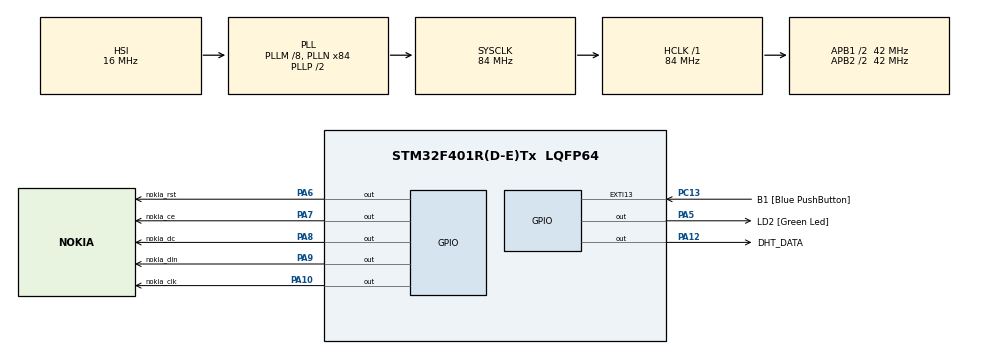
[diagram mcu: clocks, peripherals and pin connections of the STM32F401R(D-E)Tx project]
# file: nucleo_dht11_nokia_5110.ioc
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Mcu.Family=STM32F4
Mcu.Name=STM32F401R(D-E)Tx
Mcu.Package=LQFP64
NVIC.PriorityGroup=NVIC_PRIORITYGROUP_0
NVIC.TIM1_UP_TIM10_IRQn=true\:0\:0\:false\:false\:true\:true\:true\:true
PA10.GPIO_Label=nokia_clk
PA10.Signal=GPIO_Output
PA12.GPIO_Label=DHT_DATA
PA12.Signal=GPIO_Output
PA5.GPIO_Label=LD2 [Green Led]
PA5.GPIO_Mode=GPIO_MODE_OUTPUT_PP
PA5.GPIO_PuPd=GPIO_NOPULL
PA5.GPIO_Speed=GPIO_SPEED_FREQ_LOW
PA5.Signal=GPIO_Output
PA6.GPIO_Label=nokia_rst
PA6.Signal=GPIO_Output
PA7.GPIO_Label=nokia_ce
PA7.Signal=GPIO_Output
PA8.GPIO_Label=nokia_dc
PA8.Signal=GPIO_Output
PA9.GPIO_Label=nokia_din
PA9.Signal=GPIO_Output
PC13-ANTI_TAMP.GPIO_Label=B1 [Blue PushButton]
PC13-ANTI_TAMP.GPIO_ModeDefaultEXTI=GPIO_MODE_IT_FALLING
PC13-ANTI_TAMP.GPIO_PuPd=GPIO_NOPULL
PC13-ANTI_TAMP.Signal=GPXTI13
ProjectManager.HeapSize=0x200
ProjectManager.StackSize=0x400
ProjectManager.TargetToolchain=STM32CubeIDE
RCC.48MHZClocksFreq_Value=24000000
RCC.AHBFreq_Value=84000000
RCC.APB1CLKDivider=RCC_HCLK_DIV2
RCC.APB1Freq_Value=42000000
RCC.APB1TimFreq_Value=84000000
RCC.APB2CLKDivider=RCC_HCLK_DIV2
RCC.APB2Freq_Value=42000000
RCC.APB2TimFreq_Value=84000000
RCC.CortexFreq_Value=84000000
RCC.HCLKFreq_Value=84000000
RCC.HSE_VALUE=8000000
RCC.HSI_VALUE=16000000
RCC.LSE_VALUE=32768
RCC.PLLM=8
RCC.PLLN=84
RCC.PLLQ=7
RCC.SYSCLKFreq_VALUE=84000000
RCC.SYSCLKSource=RCC_SYSCLKSOURCE_PLLCLK
RCC.VCOOutputFreq_Value=168000000
TIM10.Period=65534
TIM10.Prescaler=83
VP_TIM10_VS_ClockSourceINT.Mode=Enable_Timer
board=NUCLEO-F401RE

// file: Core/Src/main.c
/* USER CODE BEGIN Header */
/**
  ******************************************************************************
  * @file           : main.c
  * @brief          : Main program body
  ******************************************************************************
  * @attention
  *
  * Copyright (c) 2023 STMicroelectronics.
  * All rights reserved.
  *
  * This software is licensed under terms that can be found in the LICENSE file
  * in the root directory of this software component.
  * If no LICENSE file comes with this software, it is provided AS-IS.
  *
  ******************************************************************************
  */
/* USER CODE END Header */
#include "main.h"
#include "tim.h"
#include "gpio.h"
#include "stdio.h"

/* USER CODE BEGIN Includes */
#include "dht.h"
#include "nokia5110_LCD.h"

/* USER CODE END Includes */

void SystemClock_Config(void);

/* USER CODE BEGIN 0 */

char buffer[10];

/* USER CODE END 0 */

int main(void)
{

  /* MCU Configuration--------------------------------------------------------*/

  /* Reset of all peripherals, Initializes the Flash interface and the Systick. */
  HAL_Init();

  /* Configure the system clock */
  SystemClock_Config();

  /* Initialize all configured peripherals */
  MX_GPIO_Init();
  MX_TIM10_Init();
  /* USER CODE BEGIN 2 */
  HAL_TIM_Base_Start_IT(&htim10);

  LCD_setRST(nokia_rst_GPIO_Port, nokia_rst_Pin);
  LCD_setDIN(nokia_din_GPIO_Port, nokia_din_Pin);
  LCD_setDC(nokia_dc_GPIO_Port, nokia_dc_Pin);
  LCD_setCE(nokia_ce_GPIO_Port, nokia_ce_Pin);
  LCD_setCLK(nokia_clk_GPIO_Port, nokia_clk_Pin);

  LCD_init();

 // LCD_print("HELLO", 0, 0);

  /* USER CODE END 2 */

  /* Infinite loop */
  while (1)
  {

    /* USER CODE BEGIN 3 */
	  	  DHT11_Init();
	  		Presence=DHT_Response();
	  		Rh_byte1=DHT_Read();
	  		Rh_byte2=DHT_Read();
	  		Temp_byte1=DHT_Read();
	  		Temp_byte2=DHT_Read();

	  		SUM=DHT_Read();

	  		TEMP=Temp_byte1;
	  		RH=Rh_byte1;

	  	//  TEMP = ((Temp_byte1<<8)|Temp_byte2);
	  	 // RH = ((Rh_byte1<<8)|Rh_byte2);

	  	  Temperature = (float) TEMP;
	  		Humidity = (float) RH;

	  		gcvt(Temperature,2,buffer);

	  		LCD_print(buffer, 0, 0);
	  		HAL_Delay(300);

  }
  /* USER CODE END 3 */
}

void SystemClock_Config(void)
{
  RCC_OscInitTypeDef RCC_OscInitStruct = {0};
  RCC_ClkInitTypeDef RCC_ClkInitStruct = {0};

  /** Configure the main internal regulator output voltage
  */
  __HAL_RCC_PWR_CLK_ENABLE();
  __HAL_PWR_VOLTAGESCALING_CONFIG(PWR_REGULATOR_VOLTAGE_SCALE2);

  /** Initializes the RCC Oscillators according to the specified parameters
  * in the RCC_OscInitTypeDef structure.
  */
  RCC_OscInitStruct.OscillatorType = RCC_OSCILLATORTYPE_HSI;
  RCC_OscInitStruct.HSIState = RCC_HSI_ON;
  RCC_OscInitStruct.HSICalibrationValue = RCC_HSICALIBRATION_DEFAULT;
  RCC_OscInitStruct.PLL.PLLState = RCC_PLL_ON;
  RCC_OscInitStruct.PLL.PLLSource = RCC_PLLSOURCE_HSI;
  RCC_OscInitStruct.PLL.PLLM = 8;
  RCC_OscInitStruct.PLL.PLLN = 84;
  RCC_OscInitStruct.PLL.PLLP = RCC_PLLP_DIV2;
  RCC_OscInitStruct.PLL.PLLQ = 7;
  if (HAL_RCC_OscConfig(&RCC_OscInitStruct) != HAL_OK)
  {
    Error_Handler();
  }

  /** Initializes the CPU, AHB and APB buses clocks
  */
  RCC_ClkInitStruct.ClockType = RCC_CLOCKTYPE_HCLK|RCC_CLOCKTYPE_SYSCLK
                              |RCC_CLOCKTYPE_PCLK1|RCC_CLOCKTYPE_PCLK2;
  RCC_ClkInitStruct.SYSCLKSource = RCC_SYSCLKSOURCE_PLLCLK;
  RCC_ClkInitStruct.AHBCLKDivider = RCC_SYSCLK_DIV1;
  RCC_ClkInitStruct.APB1CLKDivider = RCC_HCLK_DIV2;
  RCC_ClkInitStruct.APB2CLKDivider = RCC_HCLK_DIV2;

  if (HAL_RCC_ClockConfig(&RCC_ClkInitStruct, FLASH_LATENCY_2) != HAL_OK)
  {
    Error_Handler();
  }
}

void Error_Handler(void)
{
  __disable_irq();
  while (1)
  {
  }
}
